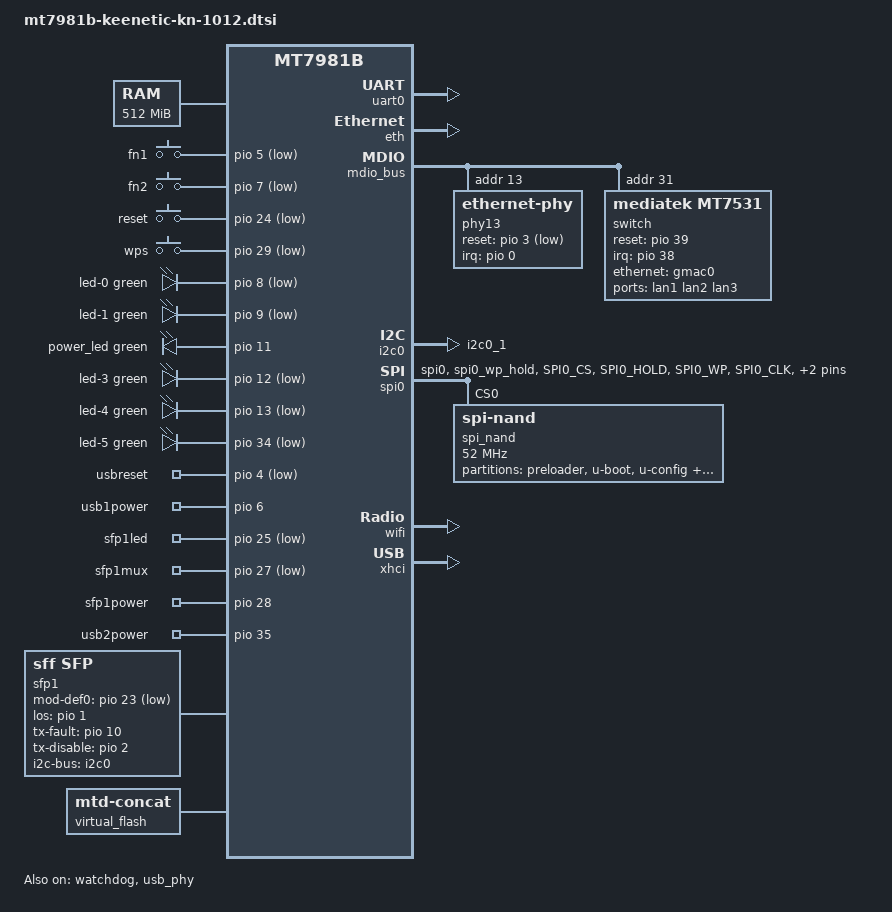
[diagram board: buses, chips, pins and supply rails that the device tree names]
// SPDX-License-Identifier: GPL-2.0-only OR MIT

/dts-v1/;

#include "mt7981b.dtsi"

/ {
	memory@40000000 {
		device_type = "memory";
		reg = <0 0x40000000 0 0x20000000>;
	};

	aliases {
		label-mac-device = &gmac1;
		led-boot = &power_led;
		led-failsafe = &power_led;
		led-running = &power_led;
		led-upgrade = &power_led;
		serial0 = &uart0;
	};

	chosen {
		stdout-path = "serial0:115200n8";
	};

	gpio-keys {
		compatible = "gpio-keys";

		button-fn1 {
			label = "fn1";
			linux,code = <BTN_0>;
			gpios = <&pio 5 GPIO_ACTIVE_LOW>;
		};

		button-fn2 {
			label = "fn2";
			linux,code = <BTN_1>;
			gpios = <&pio 7 GPIO_ACTIVE_LOW>;
		};

		button-reset {
			label = "reset";
			linux,code = <KEY_RESTART>;
			gpios = <&pio 24 GPIO_ACTIVE_LOW>;
		};

		button-wps {
			label = "wps";
			linux,code = <KEY_WPS_BUTTON>;
			gpios = <&pio 29 GPIO_ACTIVE_LOW>;
		};
	};

	gpio-leds {
		compatible = "gpio-leds";

		led-0 {
			color = <LED_COLOR_ID_GREEN>;
			function = LED_FUNCTION_WAN;
			gpios = <&pio 8 GPIO_ACTIVE_LOW>;
		};

		led-1 {
			color = <LED_COLOR_ID_GREEN>;
			function = LED_FUNCTION_INDICATOR;
			gpios = <&pio 9 GPIO_ACTIVE_LOW>;
		};

		power_led: led-2 {
			color = <LED_COLOR_ID_GREEN>;
			function = LED_FUNCTION_POWER;
			gpios = <&pio 11 GPIO_ACTIVE_HIGH>;
		};

		led-3 {
			color = <LED_COLOR_ID_GREEN>;
			function = LED_FUNCTION_WAN_ONLINE;
			gpios = <&pio 12 GPIO_ACTIVE_LOW>;
		};

		led-4 {
			color = <LED_COLOR_ID_GREEN>;
			function = LED_FUNCTION_WLAN_2GHZ;
			gpios = <&pio 13 GPIO_ACTIVE_LOW>;
			linux,default-trigger = "phy0tpt";
		};

		led-5 {
			color = <LED_COLOR_ID_GREEN>;
			function = LED_FUNCTION_WLAN_5GHZ;
			gpios = <&pio 34 GPIO_ACTIVE_LOW>;
			linux,default-trigger = "phy1tpt";
		};
	};

	gpio-export {
		compatible = "gpio-export";
		#size-cells = <0>;

		/*
		 * usb 2.0 hub GL850G-OHY60. The exported value is logical, so 1
		 * asserts RESET_N and parks the hub; keep it deasserted.
		 */
		usbreset {
			gpio-export,name = "usbreset";
			gpio-export,output = <0>;
			gpios = <&pio 4 GPIO_ACTIVE_LOW>;
		};

		usb1power {
			gpio-export,name = "usb1power";
			gpio-export,output = <1>;
			gpios = <&pio 6 GPIO_ACTIVE_HIGH>;
		};

		sfp1led {
			gpio-export,name = "sfp1led";
			gpio-export,output = <1>;
			gpios = <&pio 25 GPIO_ACTIVE_LOW>;
		};

		/*
		 * Selects which media reaches MT7531 port 5: asserted routes it
		 * to the SFP cage, deasserted to the EN8811H copper PHY. The SFP
		 * device tree flips this default. Exported so the active path can
		 * be verified and forced from userspace.
		 */
		sfp1mux: sfp1mux {
			gpio-export,name = "sfp1mux";
			gpio-export,output = <0>;
			gpios = <&pio 27 GPIO_ACTIVE_LOW>;
		};

		sfp1power {
			gpio-export,name = "sfp1power";
			gpio-export,output = <1>;
			gpios = <&pio 28 GPIO_ACTIVE_HIGH>;
		};

		usb2power {
			gpio-export,name = "usb2power";
			gpio-export,output = <1>;
			gpios = <&pio 35 GPIO_ACTIVE_HIGH>;
		};
	};

	sfp1: sfp-1 {
		compatible = "sff,sfp";
		i2c-bus = <&i2c0>;
		mod-def0-gpios = <&pio 23 GPIO_ACTIVE_LOW>;
		los-gpios = <&pio 1 GPIO_ACTIVE_HIGH>;
		tx-fault-gpios = <&pio 10 GPIO_ACTIVE_HIGH>;
		tx-disable-gpios = <&pio 2 GPIO_ACTIVE_HIGH>;
		maximum-power-milliwatt = <3000>;
	};

	virtual_flash {
		compatible = "mtd-concat";
		devices = <&firmware1 &storage1 &firmware2 &storage2>;

		partitions {
			compatible = "fixed-partitions";
			#address-cells = <1>;
			#size-cells = <1>;

			/* chainloaded U-Boot at 0x0, dual-media FIT at 0x100000 */
			partition@0 {
				label = "kernel";
				reg = <0x0 0x800000>;
			};

			partition@800000 {
				label = "ubi";
				reg = <0x800000 0x0>;
			};
		};
	};
};

&uart0 {
	status = "okay";
};

&watchdog {
	status = "okay";
};

&eth {
	status = "okay";
	pinctrl-names = "default";
	pinctrl-0 = <&mdio_pins>;

	gmac0: mac@0 {
		compatible = "mediatek,eth-mac";
		reg = <0>;
		phy-mode = "2500base-x";

		nvmem-cell-names = "mac-address";
		nvmem-cells = <&macaddr_factory_4>;

		fixed-link {
			speed = <2500>;
			full-duplex;
			pause;
		};
	};

	gmac1: mac@1 {
		compatible = "mediatek,eth-mac";
		reg = <1>;
		phy-mode = "gmii";
		phy-handle = <&int_gbe_phy>;
		label = "wan";

		nvmem-cell-names = "mac-address";
		nvmem-cells = <&macaddr_factory_a>;
	};
};

&mdio_bus {
	/*
	 * Airoha EN8811H. The vendor tree declares this PHY's INTB on the
	 * switch node instead, but pio 0 is the PHY's own line and the switch
	 * has its own on pio 38.
	 */
	phy13: ethernet-phy@d {
		reg = <0xd>;
		airoha,pnswap-rx;
		interrupt-parent = <&pio>;
		interrupts = <0 IRQ_TYPE_LEVEL_LOW>;
		reset-gpios = <&pio 3 GPIO_ACTIVE_LOW>;
		reset-assert-us = <10000>;
		reset-deassert-us = <20000>;
	};

	/* MediaTek MT7531 */
	switch: switch@1f {
		compatible = "mediatek,mt7531";
		reg = <0x1f>;
		reset-gpios = <&pio 39 GPIO_ACTIVE_HIGH>;
		interrupt-controller;
		#interrupt-cells = <1>;
		interrupt-parent = <&pio>;
		interrupts = <38 IRQ_TYPE_LEVEL_HIGH>;
	};
};

&switch {
	ports {
		#address-cells = <1>;
		#size-cells = <0>;

		port@0 {
			reg = <0>;
			label = "lan1";
		};

		port@1 {
			reg = <1>;
			label = "lan2";
		};

		port@2 {
			reg = <2>;
			label = "lan3";
		};

		port@6 {
			reg = <6>;
			ethernet = <&gmac0>;
			phy-mode = "2500base-x";

			fixed-link {
				speed = <2500>;
				full-duplex;
				pause;
			};
		};
	};
};

&pio {
	spi0_flash_pins: spi0-pins {
		mux {
			function = "spi";
			groups = "spi0", "spi0_wp_hold";
		};

		conf-pu {
			pins = "SPI0_CS", "SPI0_HOLD", "SPI0_WP";
			drive-strength = <MTK_DRIVE_8mA>;
			bias-pull-up = <MTK_PUPD_SET_R1R0_11>;
		};

		conf-pd {
			pins = "SPI0_CLK", "SPI0_MOSI", "SPI0_MISO";
			drive-strength = <MTK_DRIVE_8mA>;
			bias-pull-down = <MTK_PUPD_SET_R1R0_11>;
		};
	};

	i2c_pins: i2c-pins {
		mux {
			function = "i2c";
			groups = "i2c0_1";
		};
	};
};

&i2c0 {
	pinctrl-names = "default";
	pinctrl-0 = <&i2c_pins>;
	status = "okay";
};

&spi0 {
	pinctrl-names = "default";
	pinctrl-0 = <&spi0_flash_pins>;
	status = "okay";

	/* 256 MiB SPI-NAND; the chip varies by production run */
	spi_nand@0 {
		compatible = "spi-nand";
		reg = <0>;

		spi-max-frequency = <52000000>;
		spi-tx-bus-width = <4>;
		spi-rx-bus-width = <4>;

		mediatek,nmbm;
		mediatek,bmt-max-ratio = <1>;
		mediatek,bmt-max-reserved-blocks = <256>;

		partitions {
			compatible = "fixed-partitions";
			#address-cells = <1>;
			#size-cells = <1>;

			/* bl2 */
			partition@0 {
				label = "preloader";
				reg = <0x0 0x80000>;
				read-only;
			};

			/* fip */
			partition@80000 {
				label = "u-boot";
				reg = <0x80000 0x200000>;
				read-only;
			};

			partition@280000 {
				label = "u-config";
				reg = <0x280000 0x80000>;
				read-only;
			};

			partition@300000 {
				label = "rf-eeprom";
				reg = <0x300000 0x200000>;
				read-only;

				nvmem-layout {
					compatible = "fixed-layout";
					#address-cells = <1>;
					#size-cells = <1>;

					eeprom_factory_0: eeprom@0 {
						reg = <0x0 0x1000>;
					};

					/* lan mac */
					macaddr_factory_4: macaddr@4 {
						reg = <0x4 0x6>;
					};

					/* wan mac */
					macaddr_factory_a: macaddr@a {
						reg = <0xa 0x6>;
					};
				};
			};

			firmware1: partition@500000 {
				label = "firmware_1";
				reg = <0x500000 0x3a00000>;
			};

			partition@3f00000 {
				label = "config_1";
				reg = <0x3f00000 0x80000>;
				read-only;
			};

			partition@3f80000 {
				label = "dump";
				reg = <0x3f80000 0x80000>;
				read-only;
			};

			storage1: partition@4000000 {
				label = "storage_a";
				reg = <0x4000000 0x3800000>;
			};

			partition@7800000 {
				label = "u-state";
				reg = <0x7800000 0x20000>;
				read-only;
			};

			partition@7a80000 {
				label = "u-config_res";
				reg = <0x7a80000 0x80000>;
				read-only;
			};

			partition@7b00000 {
				label = "rf-eeprom_res";
				reg = <0x7b00000 0x200000>;
				read-only;
			};

			firmware2: partition@7d00000 {
				label = "firmware_2";
				reg = <0x7d00000 0x3a00000>;
			};

			partition@b700000 {
				label = "config_2";
				reg = <0xb700000 0x80000>;
				read-only;
			};

			storage2: partition@b780000 {
				label = "storage_b";
				reg = <0xb780000 0x3880000>;
			};
		};
	};
};

&wifi {
	nvmem-cell-names = "eeprom";
	nvmem-cells = <&eeprom_factory_0>;
	status = "okay";
};

&usb_phy {
	status = "okay";
};

&xhci {
	status = "okay";
};
